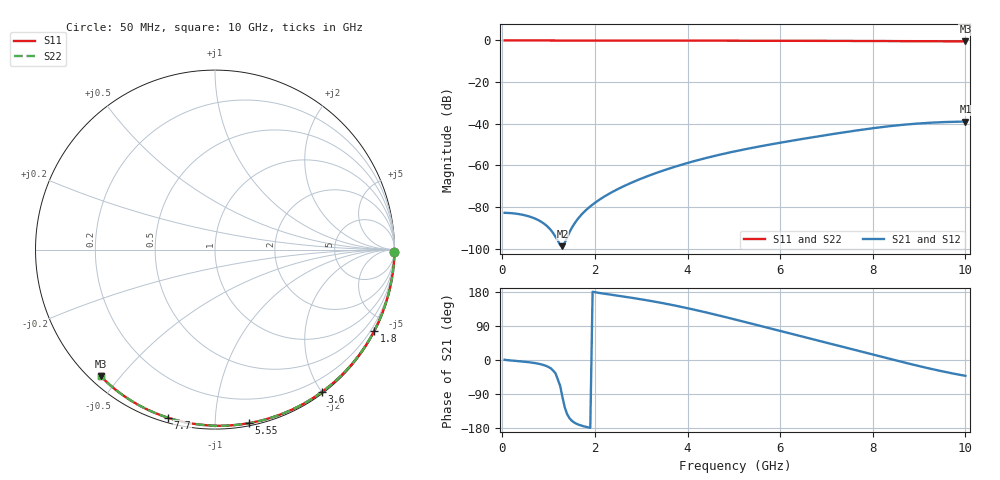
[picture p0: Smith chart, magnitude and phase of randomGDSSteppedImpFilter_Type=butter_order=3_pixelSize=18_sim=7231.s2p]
! freq	dB(S11)	phase(S11)	dB(S12)	phase(S12)
!  dB(S21)	phase(S21)	dB(S22)	phase(S22)
!S-par simulation data
#  GHz  S  DB  R 50
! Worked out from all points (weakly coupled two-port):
!   200 points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, 50 MHz to 10 GHz, reference 50 ohm
!   highest |S21| = -38.98 dB at 10 GHz (marker M1); lowest = -98.8 dB at 1.3 GHz (marker M2)
!   lowest |S11| = -0.4 dB at 10 GHz (marker M3), VSWR 38.89, Z = 1.54 - j22.2 ohm
!   |S11| at or under -10 dB: nowhere
!   |S22| runs from -0.4 to 0.0 dB; largest |S21 - S12| = 0
!   S11 on the Smith chart (normalised r, x): 50 MHz: open; 1.8 GHz: 0.04, -4.15; 3.6 GHz: 0.02, -2.01; 5.55 GHz: 0.02, -1.21; 7.7 GHz: 0.02, -0.76; 10 GHz: 0.03, -0.44
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0.05  -0.00 -0.8  -82.81 0.7  -82.81 0.7  -0.00 -0.8
0.65  -0.01 -9.9  -85.08 -7.1  -85.08 -7.1  -0.01 -9.9
1.3  -0.03 -19.7  -98.84 -98.6  -98.84 -98.6  -0.03 -19.7
1.75  -0.03 -26.3  -82.75 -174.6  -82.75 -174.6  -0.03 -26.3
1.8  -0.03 -27.1  -81.66 -176.2  -81.66 -176.2  -0.03 -27.1
1.85  -0.04 -27.8  -80.66 -177.6  -80.66 -177.6  -0.04 -27.8
1.9  -0.04 -28.6  -79.72 -178.9  -79.72 -178.9  -0.04 -28.6
2.05  -0.04 -30.8  -77.21 177.9  -77.21 177.9  -0.04 -30.8
2.25  -0.04 -33.7  -74.37 174.1  -74.37 174.1  -0.04 -33.7
2.65  -0.05 -39.5  -69.73 166.9  -69.73 166.9  -0.05 -39.5
3  -0.06 -44.5  -66.38 160.1  -66.38 160.1  -0.06 -44.5
3.4  -0.07 -50.1  -63.07 151.5  -63.07 151.5  -0.07 -50.1
3.6  -0.07 -52.9  -61.57 146.9  -61.57 146.9  -0.07 -52.9
4.3  -0.09 -62.6  -57.04 128.4  -57.04 128.4  -0.09 -62.6
5.05  -0.11 -72.6  -53.14 106.2  -53.14 106.2  -0.11 -72.6
5.55  -0.13 -79.1  -50.94 90.7  -50.94 90.7  -0.13 -79.1
6.1  -0.15 -86.1  -48.75 73.5  -48.75 73.5  -0.15 -86.1
6.7  -0.18 -93.5  -46.52 54.9  -46.52 54.9  -0.18 -93.5
7.7  -0.24 -105.6  -43.09 23.8  -43.09 23.8  -0.24 -105.5
8.35  -0.29 -113.2  -41.22 3.5  -41.22 3.5  -0.29 -113.2
9.15  -0.36 -122.4  -39.64 -20.4  -39.64 -20.4  -0.36 -122.3
10  -0.45 -132.1  -38.98 -41.8  -38.98 -41.8  -0.45 -132.0
